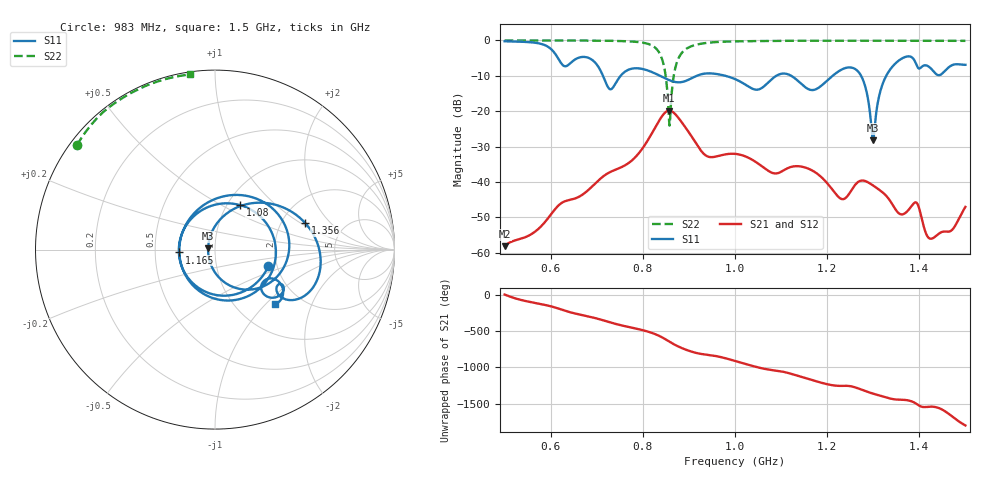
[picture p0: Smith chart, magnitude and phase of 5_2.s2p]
! TOUCHSTONE file generated by CST MICROWAVE STUDIO
! Date and time: Mon Nov 30 09:06:09 2020
! Project name: Scenario_1_Planar_Body_Tissue_Out_of_Line_v2.cst
! Parameters = {dy1=-276.8; L_HA=400; Ltissue=700; MT=2.54; Rad_Dielectric=30; Rad_Lower=7.3; Rad_Upper=30; Wtissue=700; a_HA=580; a_WG=246; b_HA=500; b_WG=121; c_HA=0; c_WG=187; d_feed=85; dx1=346; h_feed=15; h_lower=18; h_upper=40; hfat=3; hgap=25; hmuscle=50; hskin=1.5}
! Header version: 2018
! Port assignment regex: !\s*Touchstone port\s*([0-9]+)\s*=\s*(CST MWS port|CST DS port)\s*([0-9]+|Zmin|Zmax)\s*\(\"(.*)\"\)(\s*mode\s*([0-9]+))?.*
! Touchstone port assignment:
! Touchstone port 1 = CST MWS port 1 ("")
! Touchstone port 2 = CST MWS port 2 ("")
# GHz S DB R 50
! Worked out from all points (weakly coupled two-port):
!   1003 points, 500 MHz to 1.5 GHz, reference 50 ohm
!   highest |S21| = -19.82 dB at 857 MHz (marker M1); lowest = -58.1 dB at 500 MHz (marker M2)
!   lowest |S11| = -28.2 dB at 1.3 GHz (marker M3), VSWR 1.08, Z = 46.3 + j0.616 ohm
!   |S11| at or under -10 dB: 837.5 MHz to 916.8 MHz (79.38 MHz wide, 9.05 % of centre); 979.3 MHz to 1.089 GHz (110.1 MHz wide, 10.6 % of centre); 1.122 GHz to 1.212 GHz (89.57 MHz wide, 7.68 % of centre) (the widest 3 of 5)
!   |S22| runs from -24.1 to 0.0 dB; largest |S21 - S12| = 2e-06
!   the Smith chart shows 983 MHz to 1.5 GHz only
!   S11 on the Smith chart (normalised r, x): 983 MHz: 1.80, -0.37; 1.08 GHz: 1.15, +0.62; 1.165 GHz: 0.67, -0.02; 1.356 GHz: 2.68, +1.10; 1.5 GHz: 1.48, -1.14
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0.5  -0.24 -121.8  -58.10 6.4  -58.10 6.4  -0.01 151.2
0.667  -4.68 155.3  -43.72 85.2  -43.72 85.2  -0.04 138.4
0.717  -11.08 34.0  -38.10 4.4  -38.10 4.4  -0.09 132.7
0.742  -11.86 -104.8  -36.43 -41.2  -36.43 -41.2  -0.14 129.0
0.772  -8.12 171.6  -34.34 -85.9  -34.34 -85.9  -0.28 122.7
0.834  -9.78 43.3  -22.94 159.5  -22.94 159.5  -3.12 83.7
0.857  -11.20 -14.6  -19.82 78.0  -19.82 78.0  -22.80 -16.4
0.911  -10.34 171.7  -28.16 -72.4  -28.16 -72.4  -1.39 162.1
0.983  -10.13 -17.2  -32.10 -160.3  -32.10 -160.3  -0.32 142.8
1  -10.91 -53.0  -32.03 169.1  -32.03 169.1  -0.27 140.3
1.045  -13.90 -177.8  -34.31 87.9  -34.31 87.9  -0.19 135.0
1.08  -10.92 60.6  -37.35 42.7  -37.35 42.7  -0.14 131.6
1.126  -10.32 -66.1  -35.59 -16.9  -35.59 -16.9  -0.10 127.6
1.165  -13.99 -175.4  -36.55 -91.7  -36.55 -91.7  -0.10 124.4
1.167  -14.02 178.6  -36.69 -95.5  -36.69 -95.5  -0.10 124.2
1.217  -9.45 64.3  -43.07 -171.8  -43.07 -171.7  -0.09 120.4
1.261  -8.09 -15.5  -40.76 163.4  -40.76 163.4  -0.09 117.1
1.3  -28.18 170.2  -40.99 76.2  -40.99 76.2  -0.08 114.2
1.334  -8.72 45.6  -44.81 14.1  -44.81 14.1  -0.08 111.6
1.356  -5.63 16.6  -48.87 -6.2  -48.87 -6.2  -0.09 109.9
1.426  -8.04 -41.7  -56.00 -102.6  -56.00 -102.6  -0.10 104.3
1.5  -6.89 -42.3  -47.01 -2.7  -47.01 -2.7  -0.13 98.0
